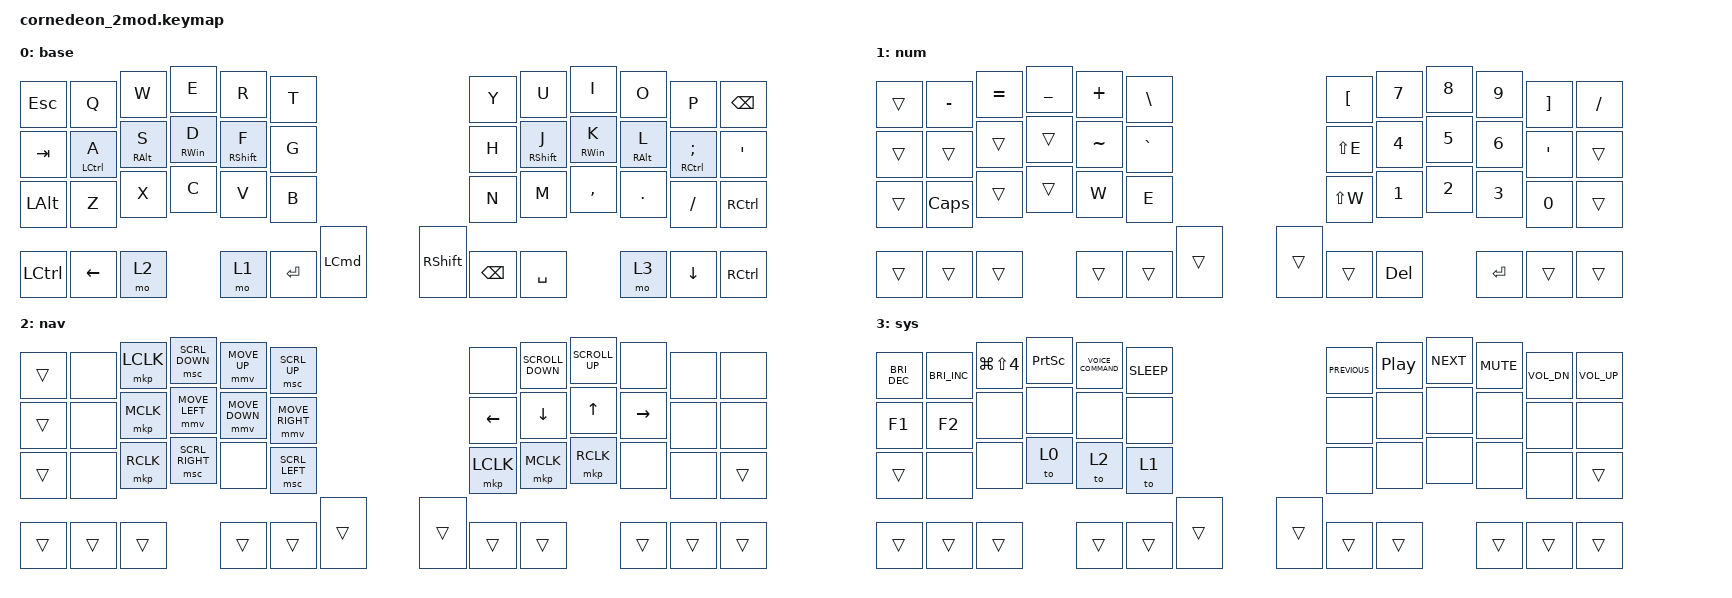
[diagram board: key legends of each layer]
/*
 * Copyright (c) 2020 The ZMK Contributors
 *
 * SPDX-License-Identifier: MIT
 */

#include <behaviors.dtsi>
#include <dt-bindings/zmk/keys.h>
#include <dt-bindings/zmk/pointing.h>

/ {
    behaviors {
        hrm: hrm {
            compatible = "zmk,behavior-hold-tap";
            #binding-cells = <2>;
            flavor = "tap-preferred";
            tapping-term-ms = <200>;
            quick-tap-ms = <200>;
            require-prior-idle-ms = <125>;
            bindings = <&kp>, <&kp>;
        };
    };

    combos {
        compatible = "zmk,combos";

        combo_bootloader_left {
            timeout-ms = <50>;
            key-positions = <0 12 24>;
            bindings = <&bootloader>;
        };

        combo_bootloader_right {
            timeout-ms = <50>;
            key-positions = <11 23 35>;
            bindings = <&bootloader>;
        };

        combo_studio_unlock {
            timeout-ms = <50>;
            key-positions = <9 10 11>;
            bindings = <&studio_unlock>;
        };
    };

    keymap {
        compatible = "zmk,keymap";

        base {
            // ------------------------------------------------------------------------------------------------------------
            // |  ESC  |  Q  |  W  |  E  |  R  |  T  |            |  Y  |  U  |  I  |  O  |  P   | BSPC  |
            // |  TAB  | CTL/A|ALT/S|GUI/D|SFT/F|  G  |            |  H  |SFT/J|GUI/K|ALT/L|CTL/;| '     |
            // | LALT  |  Z  |  X  |  C  |  V  |  B  |            |  N  |  M  |  ,  |  .  |  /  | RCTRL |
            // | LCTL  | LEFT|mo(2)|mo(1)| ENT | LGUI |            |RSHFT| BSPC|SPACE|mo(3)| DOWN| RCTL  |
            bindings = <
&kp ESC       &kp Q                &kp W             &kp E             &kp R         &kp T          &kp Y            &kp U          &kp I             &kp O             &kp P                    &kp BSPC
&kp TAB       &hrm LEFT_CONTROL A  &hrm RIGHT_ALT S  &hrm RIGHT_WIN D  &hrm RSHFT F  &kp G          &kp H            &hrm RSHFT J   &hrm RIGHT_WIN K  &hrm RIGHT_ALT L  &hrm RIGHT_CONTROL SEMI  &kp SINGLE_QUOTE
&kp LEFT_ALT  &kp Z                &kp X             &kp C             &kp V         &kp B          &kp N            &kp M          &kp COMMA         &kp DOT           &kp FSLH                 &kp RCTRL
&kp LCTRL     &kp LEFT             &mo 2             &mo 1             &kp ENTER     &kp LEFT_COMMAND &kp RIGHT_SHIFT  &kp BACKSPACE  &kp SPACE         &mo 3             &kp DOWN                 &kp RCTRL
            >;
        };

        num {
            // ------------------------------------------------------------------------------------------------------------
            // |  TRANS| -   |  =  |  _  |  +  |  \  |            |  [  |  7  |  8  |  9  |  ]  |  /    |
            // |  TRANS|TRANS|TRANS|TRANS|  ~  |  `  |            | S(E)|  4  |  5  |  6  | '   | TRANS |
            // |  TRANS| CAPS|TRANS|TRANS|  W  |  E  |            | S(W)|  1  |  2  |  3  |  0  | TRANS |
            // | TRANS | TRANS|TRANS|TRANS| TRANS|TRANS|            |TRANS|TRANS|TRANS|TRANS| TRANS|TRANS |
            bindings = <
&trans  &kp MINUS     &kp EQUAL  &kp UNDER  &kp PLUS   &kp BACKSLASH    &kp LEFT_BRACKET  &kp N7        &kp N8        &kp N9        &kp RIGHT_BRACKET  &kp SLASH
&trans  &trans        &trans     &trans     &kp TILDE  &kp GRAVE        &kp LS(E)         &kp NUMBER_4  &kp NUMBER_5  &kp NUMBER_6  &kp SINGLE_QUOTE   &trans
&trans  &kp CAPSLOCK  &trans     &trans     &kp W      &kp E            &kp LS(W)         &kp NUMBER_1  &kp NUMBER_2  &kp NUMBER_3  &kp NUMBER_0       &trans
&trans  &trans        &trans     &trans     &trans     &trans           &trans            &trans        &kp DELETE    &kp ENTER     &trans             &trans
            >;
        };

        nav {
            // ------------------------------------------------------------------------------------------------------------
            // | TRANS |NONE |LCLK |SCRLDN|MVUP |SCRLUP|            |NONE | SCDN| SCUP|NONE |NONE |NONE   |
            // | TRANS |NONE |MCLK |MVLEFT|MVDWN|MVRGHT|            |LEFT | DOWN|  UP |RIGHT|NONE |NONE   |
            // | TRANS |NONE |RCLK |SCRLRT|NONE |SCRLLF|            |LCLK | MCLK| RCLK|NONE |NONE |TRANS  |
            // | TRANS |TRANS|TRANS|TRANS |TRANS|TRANS |            |TRANS|TRANS|TRANS|TRANS|TRANS|TRANS  |
            bindings = <
&trans  &none  &mkp LCLK  &msc SCRL_DOWN   &mmv MOVE_UP    &msc SCRL_UP       &none      &kp K_SCROLL_DOWN  &kp K_SCROLL_UP  &none      &none  &none
&trans  &none  &mkp MCLK  &mmv MOVE_LEFT   &mmv MOVE_DOWN  &mmv MOVE_RIGHT    &kp LEFT   &kp DOWN           &kp UP           &kp RIGHT  &none  &none
&trans  &none  &mkp RCLK  &msc SCRL_RIGHT  &none           &msc SCRL_LEFT     &mkp LCLK  &mkp MCLK          &mkp RCLK        &none      &none  &trans
&trans  &trans  &trans  &trans        &trans          &trans             &trans     &trans             &trans           &trans     &trans  &trans
            >;
        };

        sys {
            // ------------------------------------------------------------------------------------------------------------
            // |BRI-  |BRI+ |SCRNSHOT4|PRTSC|VOICE|SLEEP|          |PREV |PLAY |NEXT |MUTE |VOL- |VOL+   |
            // |  F1  |  F2 |NONE |NONE |NONE |NONE |            |NONE |NONE |NONE |NONE |NONE |NONE   |
            // | TRANS|NONE |NONE |TO(0)|TO(2)|TO(1)|            |NONE |NONE |NONE |NONE |NONE |TRANS  |
            // | TRANS|TRANS|TRANS|TRANS|TRANS|TRANS|            |TRANS|TRANS|TRANS|TRANS|TRANS|TRANS  |
            bindings = <
&kp C_BRIGHTNESS_DEC  &kp C_BRIGHTNESS_INC  &kp LG(LS(NUMBER_4))  &kp PRINTSCREEN  &kp C_VOICE_COMMAND  &kp C_SLEEP    &kp C_PREVIOUS  &kp C_PLAY_PAUSE  &kp C_NEXT    &kp K_MUTE    &kp C_VOL_DN  &kp C_VOL_UP
&kp F1                &kp F2                &none                 &none            &none                &none          &none           &none             &none         &none         &none         &none
&trans                &none                 &none                 &to 0            &to 2                &to 1          &none           &none             &none         &none         &none         &trans
&trans                &trans                &trans                &trans           &trans               &trans         &trans          &trans            &trans        &trans        &trans        &trans
            >;
        };
    };
};
